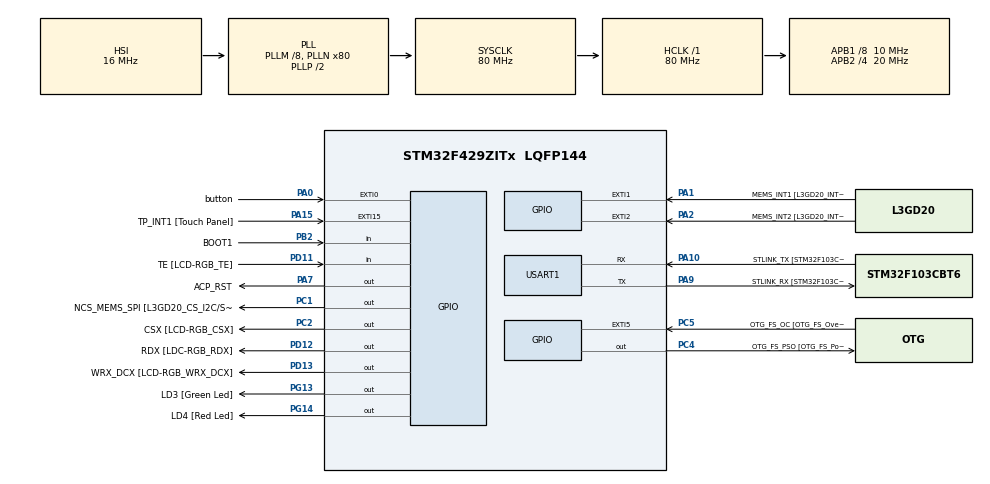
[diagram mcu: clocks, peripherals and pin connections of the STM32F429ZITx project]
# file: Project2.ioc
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Mcu.Family=STM32F4
Mcu.Name=STM32F429ZITx
Mcu.Package=LQFP144
NVIC.EXTI0_IRQn=true\:0\:0\:false\:false\:true\:true\:true\:true
NVIC.PriorityGroup=NVIC_PRIORITYGROUP_0
NVIC.TIM1_UP_TIM10_IRQn=true\:0\:0\:false\:false\:true\:true\:true\:true
NVIC.USART1_IRQn=true\:0\:0\:false\:false\:true\:true\:true\:true
PA0/WKUP.GPIO_Label=button
PA0/WKUP.GPIO_ModeDefaultEXTI=GPIO_MODE_IT_RISING
PA0/WKUP.GPIO_PuPd=GPIO_NOPULL
PA0/WKUP.Signal=GPXTI0
PA1.GPIO_Label=MEMS_INT1 [L3GD20_INT1]
PA1.GPIO_ModeDefaultEXTI=GPIO_MODE_EVT_RISING
PA1.GPIO_PuPd=GPIO_NOPULL
PA1.Signal=GPXTI1
PA10.GPIO_Label=STLINK_TX [STM32F103CBT6_PA2]
PA10.Mode=Asynchronous
PA10.Signal=USART1_RX
PA11.GPIO_Label=R4
PA11.GPIO_Mode=GPIO_MODE_AF_PP
PA11.GPIO_PuPd=GPIO_NOPULL
PA11.GPIO_Speed=GPIO_SPEED_FREQ_LOW
PA11.Signal=LTDC_R4
PA12.GPIO_Label=R5
PA12.GPIO_Mode=GPIO_MODE_AF_PP
PA12.GPIO_PuPd=GPIO_NOPULL
PA12.GPIO_Speed=GPIO_SPEED_FREQ_LOW
PA12.Signal=LTDC_R5
PA13.GPIO_Label=SWDIO
PA13.Signal=SYS_JTMS-SWDIO
PA14.GPIO_Label=SWCLK
PA14.Signal=SYS_JTCK-SWCLK
PA15.GPIO_Label=TP_INT1 [Touch Panel]
PA15.GPIO_ModeDefaultEXTI=GPIO_MODE_EVT_RISING
PA15.GPIO_PuPd=GPIO_NOPULL
PA15.Signal=GPXTI15
PA2.GPIO_Label=MEMS_INT2 [L3GD20_INT2]
PA2.GPIO_ModeDefaultEXTI=GPIO_MODE_EVT_RISING
PA2.GPIO_PuPd=GPIO_NOPULL
PA2.Signal=GPXTI2
PA3.GPIO_Label=B5
PA3.GPIO_Mode=GPIO_MODE_AF_PP
PA3.GPIO_PuPd=GPIO_NOPULL
PA3.GPIO_Speed=GPIO_SPEED_FREQ_LOW
PA3.Signal=LTDC_B5
PA4.GPIO_Label=VSYNC
PA4.GPIO_Mode=GPIO_MODE_AF_PP
PA4.GPIO_PuPd=GPIO_NOPULL
PA4.GPIO_Speed=GPIO_SPEED_FREQ_LOW
PA4.Signal=LTDC_VSYNC
PA6.GPIO_Label=G2
PA6.GPIO_Mode=GPIO_MODE_AF_PP
PA6.GPIO_PuPd=GPIO_NOPULL
PA6.GPIO_Speed=GPIO_SPEED_FREQ_LOW
PA6.Signal=LTDC_G2
PA7.GPIO_Label=ACP_RST
PA7.GPIO_Mode=GPIO_MODE_OUTPUT_PP
PA7.GPIO_PuPd=GPIO_NOPULL
PA7.GPIO_Speed=GPIO_SPEED_FREQ_LOW
PA7.Signal=GPIO_Output
PA8.GPIO_Label=I2C3_SCL [ACP/RF_SCL]
PA8.GPIO_Mode=GPIO_MODE_AF_OD
PA8.GPIO_PuPd=GPIO_NOPULL
PA8.GPIO_Speed=GPIO_SPEED_FREQ_LOW
PA8.Signal=I2C3_SCL
PA9.GPIO_Label=STLINK_RX [STM32F103CBT6_PA3]
PA9.Mode=Asynchronous
PA9.Signal=USART1_TX
PB0.GPIO_Label=R3
PB0.GPIO_Mode=GPIO_MODE_AF_PP
PB0.GPIO_PuPd=GPIO_NOPULL
PB0.GPIO_Speed=GPIO_SPEED_FREQ_LOW
PB0.Signal=LTDC_R3
PB1.GPIO_Label=R6
PB1.GPIO_Mode=GPIO_MODE_AF_PP
PB1.GPIO_PuPd=GPIO_NOPULL
PB1.GPIO_Speed=GPIO_SPEED_FREQ_LOW
PB1.Signal=LTDC_R6
PB10.GPIO_Label=G4
PB10.GPIO_Mode=GPIO_MODE_AF_PP
PB10.GPIO_PuPd=GPIO_NOPULL
PB10.GPIO_Speed=GPIO_SPEED_FREQ_LOW
PB10.Signal=LTDC_G4
PB11.GPIO_Label=G5
PB11.GPIO_Mode=GPIO_MODE_AF_PP
PB11.GPIO_PuPd=GPIO_NOPULL
PB11.GPIO_Speed=GPIO_SPEED_FREQ_LOW
PB11.Signal=LTDC_G5
PB12.GPIO_Label=OTG_HS_ID
PB12.GPIO_Mode=GPIO_MODE_AF_PP
PB12.GPIO_PuPd=GPIO_NOPULL
PB12.GPIO_Speed=GPIO_SPEED_FREQ_LOW
PB12.Signal=USB_OTG_HS_ID
PB13.GPIO_Label=VBUS_HS
PB13.GPIO_Mode=GPIO_MODE_INPUT
PB13.GPIO_PuPd=GPIO_NOPULL
PB13.Signal=USB_OTG_HS_VBUS
PB14.GPIO_Label=OTG_HS_DM
PB14.GPIO_Mode=GPIO_MODE_AF_PP
PB14.GPIO_PuPd=GPIO_NOPULL
PB14.GPIO_Speed=GPIO_SPEED_FREQ_LOW
PB14.Signal=USB_OTG_HS_DM
PB15.GPIO_Label=OTG_HS_DP
PB15.GPIO_Mode=GPIO_MODE_AF_PP
PB15.GPIO_PuPd=GPIO_NOPULL
PB15.GPIO_Speed=GPIO_SPEED_FREQ_LOW
PB15.Signal=USB_OTG_HS_DP
PB2/BOOT1.GPIO_Label=BOOT1
PB2/BOOT1.GPIO_Mode=GPIO_MODE_INPUT
PB2/BOOT1.GPIO_PuPd=GPIO_NOPULL
PB2/BOOT1.Signal=GPIO_Input
PB5.GPIO_Label=SDCKE1
PB5.GPIO_Mode=GPIO_MODE_AF_PP
PB5.GPIO_PuPd=GPIO_NOPULL
PB5.GPIO_Speed=GPIO_SPEED_FREQ_VERY_HIGH
PB5.Signal=FMC_SDCKE1
PB6.GPIO_Label=SDNE1 [SDRAM_CS]
PB6.GPIO_Mode=GPIO_MODE_AF_PP
PB6.GPIO_PuPd=GPIO_NOPULL
PB6.GPIO_Speed=GPIO_SPEED_FREQ_VERY_HIGH
PB6.Signal=FMC_SDNE1
PB8.GPIO_Label=B6
PB8.GPIO_Mode=GPIO_MODE_AF_PP
PB8.GPIO_PuPd=GPIO_NOPULL
PB8.GPIO_Speed=GPIO_SPEED_FREQ_LOW
PB8.Signal=LTDC_B6
PB9.GPIO_Label=B7
PB9.GPIO_Mode=GPIO_MODE_AF_PP
PB9.GPIO_PuPd=GPIO_NOPULL
PB9.GPIO_Speed=GPIO_SPEED_FREQ_LOW
PB9.Signal=LTDC_B7
PC0.GPIO_Label=SDNWE
PC0.GPIO_Mode=GPIO_MODE_AF_PP
PC0.GPIO_PuPd=GPIO_NOPULL
PC0.GPIO_Speed=GPIO_SPEED_FREQ_VERY_HIGH
PC0.Signal=FMC_SDNWE
PC1.GPIO_Label=NCS_MEMS_SPI [L3GD20_CS_I2C/SPI]
PC1.GPIO_Mode=GPIO_MODE_OUTPUT_PP
PC1.GPIO_PuPd=GPIO_NOPULL
PC1.GPIO_Speed=GPIO_SPEED_FREQ_LOW
PC1.Signal=GPIO_Output
PC10.GPIO_Label=R2
PC10.GPIO_Mode=GPIO_MODE_AF_PP
PC10.GPIO_PuPd=GPIO_NOPULL
PC10.GPIO_Speed=GPIO_SPEED_FREQ_LOW
PC10.Signal=LTDC_R2
PC14/OSC32_IN.GPIO_Label=PC14-OSC32_IN
PC14/OSC32_IN.Signal=RCC_OSC32_IN
PC15/OSC32_OUT.GPIO_Label=PC15-OSC32_OUT
PC15/OSC32_OUT.Signal=RCC_OSC32_OUT
PC2.GPIO_Label=CSX [LCD-RGB_CSX]
PC2.GPIO_Mode=GPIO_MODE_OUTPUT_PP
PC2.GPIO_PuPd=GPIO_NOPULL
PC2.GPIO_Speed=GPIO_SPEED_FREQ_LOW
PC2.Signal=GPIO_Output
PC4.GPIO_Label=OTG_FS_PSO [OTG_FS_PowerSwitchOn]
PC4.GPIO_Mode=GPIO_MODE_OUTPUT_PP
PC4.GPIO_PuPd=GPIO_NOPULL
PC4.GPIO_Speed=GPIO_SPEED_FREQ_LOW
PC4.Signal=GPIO_Output
PC5.GPIO_Label=OTG_FS_OC [OTG_FS_OverCurrent]
PC5.GPIO_ModeDefaultEXTI=GPIO_MODE_EVT_RISING
PC5.Signal=GPXTI5
PC6.GPIO_Label=HSYNC
PC6.GPIO_Mode=GPIO_MODE_AF_PP
PC6.GPIO_PuPd=GPIO_NOPULL
PC6.GPIO_Speed=GPIO_SPEED_FREQ_LOW
PC6.Signal=LTDC_HSYNC
PC7.GPIO_Label=G6
PC7.GPIO_Mode=GPIO_MODE_AF_PP
PC7.GPIO_PuPd=GPIO_NOPULL
PC7.GPIO_Speed=GPIO_SPEED_FREQ_LOW
PC7.Signal=LTDC_G6
PC9.GPIO_Label=I2C3_SDA [ACP/RF_SDA]
PC9.GPIO_Mode=GPIO_MODE_AF_OD
PC9.GPIO_PuPd=GPIO_NOPULL
PC9.GPIO_Speed=GPIO_SPEED_FREQ_LOW
PC9.Signal=I2C3_SDA
PD0.GPIO_Label=D2
PD0.GPIO_Mode=GPIO_MODE_AF_PP
PD0.GPIO_PuPd=GPIO_NOPULL
PD0.GPIO_Speed=GPIO_SPEED_FREQ_VERY_HIGH
PD0.Signal=FMC_D2_DA2
PD1.GPIO_Label=D3
PD1.GPIO_Mode=GPIO_MODE_AF_PP
PD1.GPIO_PuPd=GPIO_NOPULL
PD1.GPIO_Speed=GPIO_SPEED_FREQ_VERY_HIGH
PD1.Signal=FMC_D3_DA3
PD10.GPIO_Label=D15
PD10.GPIO_Mode=GPIO_MODE_AF_PP
PD10.GPIO_PuPd=GPIO_NOPULL
PD10.GPIO_Speed=GPIO_SPEED_FREQ_VERY_HIGH
PD10.Signal=FMC_D15_DA15
PD11.GPIO_Label=TE [LCD-RGB_TE]
PD11.GPIO_Mode=GPIO_MODE_INPUT
PD11.GPIO_PuPd=GPIO_NOPULL
PD11.Signal=GPIO_Input
PD12.GPIO_Label=RDX [LDC-RGB_RDX]
PD12.GPIO_Mode=GPIO_MODE_OUTPUT_PP
PD12.GPIO_PuPd=GPIO_NOPULL
PD12.GPIO_Speed=GPIO_SPEED_FREQ_LOW
PD12.Signal=GPIO_Output
PD13.GPIO_Label=WRX_DCX [LCD-RGB_WRX_DCX]
PD13.GPIO_Mode=GPIO_MODE_OUTPUT_PP
PD13.GPIO_PuPd=GPIO_NOPULL
PD13.GPIO_Speed=GPIO_SPEED_FREQ_LOW
PD13.Signal=GPIO_Output
PD14.GPIO_Label=D0
PD14.GPIO_Mode=GPIO_MODE_AF_PP
PD14.GPIO_PuPd=GPIO_NOPULL
PD14.GPIO_Speed=GPIO_SPEED_FREQ_VERY_HIGH
PD14.Signal=FMC_D0_DA0
PD15.GPIO_Label=D1
PD15.GPIO_Mode=GPIO_MODE_AF_PP
PD15.GPIO_PuPd=GPIO_NOPULL
PD15.GPIO_Speed=GPIO_SPEED_FREQ_VERY_HIGH
PD15.Signal=FMC_D1_DA1
PD3.GPIO_Label=G7
PD3.GPIO_Mode=GPIO_MODE_AF_PP
PD3.GPIO_PuPd=GPIO_NOPULL
PD3.GPIO_Speed=GPIO_SPEED_FREQ_LOW
PD3.Signal=LTDC_G7
PD6.GPIO_Label=B2
PD6.GPIO_Mode=GPIO_MODE_AF_PP
PD6.GPIO_PuPd=GPIO_NOPULL
PD6.GPIO_Speed=GPIO_SPEED_FREQ_LOW
PD6.Signal=LTDC_B2
PD8.GPIO_Label=D13
PD8.GPIO_Mode=GPIO_MODE_AF_PP
PD8.GPIO_PuPd=GPIO_NOPULL
PD8.GPIO_Speed=GPIO_SPEED_FREQ_VERY_HIGH
PD8.Signal=FMC_D13_DA13
PD9.GPIO_Label=D14
PD9.GPIO_Mode=GPIO_MODE_AF_PP
PD9.GPIO_PuPd=GPIO_NOPULL
PD9.GPIO_Speed=GPIO_SPEED_FREQ_VERY_HIGH
PD9.Signal=FMC_D14_DA14
PE0.GPIO_Label=NBL0 [SDRAM_LDQM]
PE0.GPIO_Mode=GPIO_MODE_AF_PP
PE0.GPIO_PuPd=GPIO_NOPULL
PE0.GPIO_Speed=GPIO_SPEED_FREQ_VERY_HIGH
PE0.Signal=FMC_NBL0
PE1.GPIO_Label=NBL1 [SDRAM_UDQM]
PE1.GPIO_Mode=GPIO_MODE_AF_PP
PE1.GPIO_PuPd=GPIO_NOPULL
PE1.GPIO_Speed=GPIO_SPEED_FREQ_VERY_HIGH
PE1.Signal=FMC_NBL1
PE10.GPIO_Label=D7
PE10.GPIO_Mode=GPIO_MODE_AF_PP
PE10.GPIO_PuPd=GPIO_NOPULL
PE10.GPIO_Speed=GPIO_SPEED_FREQ_VERY_HIGH
PE10.Signal=FMC_D7_DA7
PE11.GPIO_Label=D8
PE11.GPIO_Mode=GPIO_MODE_AF_PP
PE11.GPIO_PuPd=GPIO_NOPULL
PE11.GPIO_Speed=GPIO_SPEED_FREQ_VERY_HIGH
PE11.Signal=FMC_D8_DA8
PE12.GPIO_Label=D9
PE12.GPIO_Mode=GPIO_MODE_AF_PP
PE12.GPIO_PuPd=GPIO_NOPULL
PE12.GPIO_Speed=GPIO_SPEED_FREQ_VERY_HIGH
PE12.Signal=FMC_D9_DA9
PE13.GPIO_Label=D10
PE13.GPIO_Mode=GPIO_MODE_AF_PP
PE13.GPIO_PuPd=GPIO_NOPULL
PE13.GPIO_Speed=GPIO_SPEED_FREQ_VERY_HIGH
PE13.Signal=FMC_D10_DA10
PE14.GPIO_Label=D11
PE14.GPIO_Mode=GPIO_MODE_AF_PP
PE14.GPIO_PuPd=GPIO_NOPULL
PE14.GPIO_Speed=GPIO_SPEED_FREQ_VERY_HIGH
PE14.Signal=FMC_D11_DA11
PE15.GPIO_Label=D12
PE15.GPIO_Mode=GPIO_MODE_AF_PP
PE15.GPIO_PuPd=GPIO_NOPULL
PE15.GPIO_Speed=GPIO_SPEED_FREQ_VERY_HIGH
PE15.Signal=FMC_D12_DA12
PE7.GPIO_Label=D4
PE7.GPIO_Mode=GPIO_MODE_AF_PP
PE7.GPIO_PuPd=GPIO_NOPULL
PE7.GPIO_Speed=GPIO_SPEED_FREQ_VERY_HIGH
PE7.Signal=FMC_D4_DA4
PE8.GPIO_Label=D5
PE8.GPIO_Mode=GPIO_MODE_AF_PP
PE8.GPIO_PuPd=GPIO_NOPULL
PE8.GPIO_Speed=GPIO_SPEED_FREQ_VERY_HIGH
PE8.Signal=FMC_D5_DA5
PE9.GPIO_Label=D6
PE9.GPIO_Mode=GPIO_MODE_AF_PP
PE9.GPIO_PuPd=GPIO_NOPULL
PE9.GPIO_Speed=GPIO_SPEED_FREQ_VERY_HIGH
PE9.Signal=FMC_D6_DA6
PF0.GPIO_Label=A0
PF0.GPIO_Mode=GPIO_MODE_AF_PP
PF0.GPIO_PuPd=GPIO_NOPULL
PF0.GPIO_Speed=GPIO_SPEED_FREQ_VERY_HIGH
PF0.Signal=FMC_A0
PF1.GPIO_Label=A1
PF1.GPIO_Mode=GPIO_MODE_AF_PP
PF1.GPIO_PuPd=GPIO_NOPULL
PF1.GPIO_Speed=GPIO_SPEED_FREQ_VERY_HIGH
PF1.Signal=FMC_A1
PF10.GPIO_Label=ENABLE [LCD-RGB_ENABLE]
PF10.GPIO_Mode=GPIO_MODE_AF_PP
PF10.GPIO_PuPd=GPIO_NOPULL
PF10.GPIO_Speed=GPIO_SPEED_FREQ_LOW
PF10.Signal=LTDC_DE
PF11.GPIO_Label=SDNRAS
PF11.GPIO_Mode=GPIO_MODE_AF_PP
PF11.GPIO_PuPd=GPIO_NOPULL
PF11.GPIO_Speed=GPIO_SPEED_FREQ_VERY_HIGH
PF11.Signal=FMC_SDNRAS
PF12.GPIO_Label=A6
PF12.GPIO_Mode=GPIO_MODE_AF_PP
PF12.GPIO_PuPd=GPIO_NOPULL
PF12.GPIO_Speed=GPIO_SPEED_FREQ_VERY_HIGH
PF12.Signal=FMC_A6
PF13.GPIO_Label=A7
PF13.GPIO_Mode=GPIO_MODE_AF_PP
PF13.GPIO_PuPd=GPIO_NOPULL
PF13.GPIO_Speed=GPIO_SPEED_FREQ_VERY_HIGH
PF13.Signal=FMC_A7
PF14.GPIO_Label=A8
PF14.GPIO_Mode=GPIO_MODE_AF_PP
PF14.GPIO_PuPd=GPIO_NOPULL
PF14.GPIO_Speed=GPIO_SPEED_FREQ_VERY_HIGH
PF14.Signal=FMC_A8
PF15.GPIO_Label=A9
PF15.GPIO_Mode=GPIO_MODE_AF_PP
PF15.GPIO_PuPd=GPIO_NOPULL
PF15.GPIO_Speed=GPIO_SPEED_FREQ_VERY_HIGH
PF15.Signal=FMC_A9
PF2.GPIO_Label=A2
PF2.GPIO_Mode=GPIO_MODE_AF_PP
PF2.GPIO_PuPd=GPIO_NOPULL
PF2.GPIO_Speed=GPIO_SPEED_FREQ_VERY_HIGH
PF2.Signal=FMC_A2
PF3.GPIO_Label=A3
PF3.GPIO_Mode=GPIO_MODE_AF_PP
PF3.GPIO_PuPd=GPIO_NOPULL
PF3.GPIO_Speed=GPIO_SPEED_FREQ_VERY_HIGH
PF3.Signal=FMC_A3
PF4.GPIO_Label=A4
PF4.GPIO_Mode=GPIO_MODE_AF_PP
PF4.GPIO_PuPd=GPIO_NOPULL
PF4.GPIO_Speed=GPIO_SPEED_FREQ_VERY_HIGH
PF4.Signal=FMC_A4
PF5.GPIO_Label=A5
PF5.GPIO_Mode=GPIO_MODE_AF_PP
PF5.GPIO_PuPd=GPIO_NOPULL
PF5.GPIO_Speed=GPIO_SPEED_FREQ_VERY_HIGH
PF5.Signal=FMC_A5
PF7.GPIO_Label=SPI5_SCK [L3GD20_SCL/SPC]
PF7.GPIO_Mode=GPIO_MODE_AF_PP
PF7.GPIO_PuPd=GPIO_NOPULL
PF7.GPIO_Speed=GPIO_SPEED_FREQ_LOW
PF7.Signal=SPI5_SCK
PF8.GPIO_Label=SPI5_MISO [L3GD20_SDO]
PF8.GPIO_Mode=GPIO_MODE_AF_PP
PF8.GPIO_PuPd=GPIO_NOPULL
PF8.GPIO_Speed=GPIO_SPEED_FREQ_LOW
PF8.Signal=SPI5_MISO
PF9.GPIO_Label=SPI5_MOSI [L3GD20_SDA/SDI/SDO]
PF9.GPIO_Mode=GPIO_MODE_AF_PP
PF9.GPIO_PuPd=GPIO_NOPULL
PF9.GPIO_Speed=GPIO_SPEED_FREQ_LOW
PF9.Signal=SPI5_MOSI
PG0.GPIO_Label=A10
PG0.GPIO_Mode=GPIO_MODE_AF_PP
PG0.GPIO_PuPd=GPIO_NOPULL
PG0.GPIO_Speed=GPIO_SPEED_FREQ_VERY_HIGH
PG0.Signal=FMC_A10
PG1.GPIO_Label=A11
PG1.GPIO_Mode=GPIO_MODE_AF_PP
PG1.GPIO_PuPd=GPIO_NOPULL
PG1.GPIO_Speed=GPIO_SPEED_FREQ_VERY_HIGH
PG1.Signal=FMC_A11
PG10.GPIO_Label=G3
PG10.GPIO_Mode=GPIO_MODE_AF_PP
PG10.GPIO_PuPd=GPIO_NOPULL
PG10.GPIO_Speed=GPIO_SPEED_FREQ_LOW
PG10.Signal=LTDC_G3
PG11.GPIO_Label=B3
PG11.GPIO_Mode=GPIO_MODE_AF_PP
PG11.GPIO_PuPd=GPIO_NOPULL
PG11.GPIO_Speed=GPIO_SPEED_FREQ_LOW
PG11.Signal=LTDC_B3
PG12.GPIO_Label=B4
PG12.GPIO_Mode=GPIO_MODE_AF_PP
PG12.GPIO_PuPd=GPIO_NOPULL
PG12.GPIO_Speed=GPIO_SPEED_FREQ_LOW
PG12.Signal=LTDC_B4
PG13.GPIO_Label=LD3 [Green Led]
PG13.GPIO_Mode=GPIO_MODE_OUTPUT_PP
PG13.GPIO_PuPd=GPIO_NOPULL
PG13.GPIO_Speed=GPIO_SPEED_FREQ_LOW
PG13.Signal=GPIO_Output
PG14.GPIO_Label=LD4 [Red Led]
PG14.GPIO_Mode=GPIO_MODE_OUTPUT_PP
PG14.GPIO_PuPd=GPIO_NOPULL
PG14.GPIO_Speed=GPIO_SPEED_FREQ_LOW
PG14.Signal=GPIO_Output
PG15.GPIO_Label=SDNCAS
PG15.GPIO_Mode=GPIO_MODE_AF_PP
PG15.GPIO_PuPd=GPIO_NOPULL
PG15.GPIO_Speed=GPIO_SPEED_FREQ_VERY_HIGH
PG15.Signal=FMC_SDNCAS
PG4.GPIO_Label=BA0
PG4.GPIO_Mode=GPIO_MODE_AF_PP
PG4.GPIO_PuPd=GPIO_NOPULL
PG4.GPIO_Speed=GPIO_SPEED_FREQ_VERY_HIGH
PG4.Signal=FMC_A14_BA0
PG5.GPIO_Label=BA1
PG5.GPIO_Mode=GPIO_MODE_AF_PP
PG5.GPIO_PuPd=GPIO_NOPULL
PG5.GPIO_Speed=GPIO_SPEED_FREQ_VERY_HIGH
PG5.Signal=FMC_A15_BA1
PG6.GPIO_Label=R7
PG6.GPIO_Mode=GPIO_MODE_AF_PP
PG6.GPIO_PuPd=GPIO_NOPULL
PG6.GPIO_Speed=GPIO_SPEED_FREQ_LOW
PG6.Signal=LTDC_R7
PG7.GPIO_Label=DOTCLK [LCT-RGB_DOTCLK]
PG7.GPIO_Mode=GPIO_MODE_AF_PP
PG7.GPIO_PuPd=GPIO_NOPULL
PG7.GPIO_Speed=GPIO_SPEED_FREQ_LOW
PG7.Signal=LTDC_CLK
PG8.GPIO_Label=SDCLK
PG8.GPIO_Mode=GPIO_MODE_AF_PP
PG8.GPIO_PuPd=GPIO_NOPULL
PG8.GPIO_Speed=GPIO_SPEED_FREQ_VERY_HIGH
PG8.Signal=FMC_SDCLK
PH0/OSC_IN.GPIO_Label=PH0-OSC_IN
PH0/OSC_IN.Signal=RCC_OSC_IN
PH1/OSC_OUT.GPIO_Label=PH1-OSC_OUT
PH1/OSC_OUT.Signal=RCC_OSC_OUT
ProjectManager.HeapSize=0x200
ProjectManager.StackSize=0x400
ProjectManager.TargetToolchain=STM32CubeIDE
RCC.48MHZClocksFreq_Value=22857142.85714286
RCC.AHBFreq_Value=80000000
RCC.APB1CLKDivider=RCC_HCLK_DIV8
RCC.APB1Freq_Value=10000000
RCC.APB1TimFreq_Value=20000000
RCC.APB2CLKDivider=RCC_HCLK_DIV4
RCC.APB2Freq_Value=20000000
RCC.APB2TimFreq_Value=40000000
RCC.CortexFreq_Value=80000000
RCC.HCLKFreq_Value=80000000
RCC.HSE_VALUE=8000000
RCC.HSI_VALUE=16000000
RCC.LSE_VALUE=32768
RCC.PLLM=8
RCC.PLLN=80
RCC.PLLQ=7
RCC.SYSCLKFreq_VALUE=80000000
RCC.SYSCLKSource=RCC_SYSCLKSOURCE_PLLCLK
RCC.VCOOutputFreq_Value=160000000
SH.FMC_A0.0=FMC_A0
SH.FMC_A1.0=FMC_A1
SH.FMC_A10.0=FMC_A10
SH.FMC_A11.0=FMC_A11
SH.FMC_A14_BA0.0=FMC_BA0
SH.FMC_A15_BA1.0=FMC_BA1
SH.FMC_A2.0=FMC_A2
SH.FMC_A3.0=FMC_A3
SH.FMC_A4.0=FMC_A4
SH.FMC_A5.0=FMC_A5
SH.FMC_A6.0=FMC_A6
SH.FMC_A7.0=FMC_A7
SH.FMC_A8.0=FMC_A8
SH.FMC_A9.0=FMC_A9
SH.FMC_D0_DA0.0=FMC_D0
SH.FMC_D10_DA10.0=FMC_D10
SH.FMC_D11_DA11.0=FMC_D11
SH.FMC_D12_DA12.0=FMC_D12
SH.FMC_D13_DA13.0=FMC_D13
SH.FMC_D14_DA14.0=FMC_D14
SH.FMC_D15_DA15.0=FMC_D15
SH.FMC_D1_DA1.0=FMC_D1
SH.FMC_D2_DA2.0=FMC_D2
SH.FMC_D3_DA3.0=FMC_D3
SH.FMC_D4_DA4.0=FMC_D4
SH.FMC_D5_DA5.0=FMC_D5
SH.FMC_D6_DA6.0=FMC_D6
SH.FMC_D7_DA7.0=FMC_D7
SH.FMC_D8_DA8.0=FMC_D8
SH.FMC_D9_DA9.0=FMC_D9
SH.FMC_NBL0.0=FMC_NBL0
SH.FMC_NBL1.0=FMC_NBL1
SH.FMC_SDCLK.0=FMC_SDCLK
SH.FMC_SDNCAS.0=FMC_SDNCAS
SH.FMC_SDNRAS.0=FMC_SDNRAS
SH.FMC_SDNWE.0=FMC_SDNWE
TIM1.Prescaler=999
USART1.VirtualMode=VM_ASYNC
VP_TIM1_VS_ClockSourceINT.Mode=Internal
board=STM32F429I-DISC1

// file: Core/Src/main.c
/* Amna Malik 2/5/2026
 * I set up the user button to trigger an interrupt and
 * keep track of how many times it’s pressed.
 * Each press sends the count over UART to the serial monitor.
 * Debounce is included so the button doesn’t double count.
 */

/* USER CODE BEGIN Header */
/**
  ******************************************************************************
  * @file           : main.c
  * @brief          : Main program body
  ******************************************************************************
  * @attention
  *
  * Copyright (c) 2026 STMicroelectronics.
  * All rights reserved.
  *
  * This software is licensed under terms that can be found in the LICENSE file
  * in the root directory of this software component.
  * If no LICENSE file comes with this software, it is provided AS-IS.
  *
  ******************************************************************************
  */
/* USER CODE END Header */
#include "main.h"

TIM_HandleTypeDef htim1;

UART_HandleTypeDef huart1;

void SystemClock_Config(void);
static void MX_GPIO_Init(void);
static void MX_TIM1_Init(void);
static void MX_USART1_UART_Init(void);

/* USER CODE BEGIN 0 */
#include <stdio.h>
#include <string.h>

volatile uint32_t pressedAmount = 0;

static uint32_t lastPressTickMs = 0;       // debounce with HAL_GetTick()
static volatile uint8_t uartBusy = 0;      // 1 while UART transmit is in progress
static volatile uint8_t uartPending = 0;   // 1 if we pressed while UART was busy

static char message[64];
/* USER CODE END 0 */

int main(void)
{

  /* MCU Configuration--------------------------------------------------------*/

  /* Reset of all peripherals, Initializes the Flash interface and the Systick. */
  HAL_Init();

  /* Configure the system clock */
  SystemClock_Config();

  /* Initialize all configured peripherals */
  MX_GPIO_Init();
  MX_TIM1_Init();
  MX_USART1_UART_Init();

  /* Infinite loop */
  while (1)
  {

  }
}

void SystemClock_Config(void)
{
  RCC_OscInitTypeDef RCC_OscInitStruct = {0};
  RCC_ClkInitTypeDef RCC_ClkInitStruct = {0};

  /** Configure the main internal regulator output voltage
  */
  __HAL_RCC_PWR_CLK_ENABLE();
  __HAL_PWR_VOLTAGESCALING_CONFIG(PWR_REGULATOR_VOLTAGE_SCALE3);

  /** Initializes the RCC Oscillators according to the specified parameters
  * in the RCC_OscInitTypeDef structure.
  */
  RCC_OscInitStruct.OscillatorType = RCC_OSCILLATORTYPE_HSI;
  RCC_OscInitStruct.HSIState = RCC_HSI_ON;
  RCC_OscInitStruct.HSICalibrationValue = RCC_HSICALIBRATION_DEFAULT;
  RCC_OscInitStruct.PLL.PLLState = RCC_PLL_ON;
  RCC_OscInitStruct.PLL.PLLSource = RCC_PLLSOURCE_HSI;
  RCC_OscInitStruct.PLL.PLLM = 8;
  RCC_OscInitStruct.PLL.PLLN = 80;
  RCC_OscInitStruct.PLL.PLLP = RCC_PLLP_DIV2;
  RCC_OscInitStruct.PLL.PLLQ = 7;
  if (HAL_RCC_OscConfig(&RCC_OscInitStruct) != HAL_OK)
  {
    Error_Handler();
  }

  /** Initializes the CPU, AHB and APB buses clocks
  */
  RCC_ClkInitStruct.ClockType = RCC_CLOCKTYPE_HCLK|RCC_CLOCKTYPE_SYSCLK
                              |RCC_CLOCKTYPE_PCLK1|RCC_CLOCKTYPE_PCLK2;
  RCC_ClkInitStruct.SYSCLKSource = RCC_SYSCLKSOURCE_PLLCLK;
  RCC_ClkInitStruct.AHBCLKDivider = RCC_SYSCLK_DIV1;
  RCC_ClkInitStruct.APB1CLKDivider = RCC_HCLK_DIV8;
  RCC_ClkInitStruct.APB2CLKDivider = RCC_HCLK_DIV4;

  if (HAL_RCC_ClockConfig(&RCC_ClkInitStruct, FLASH_LATENCY_2) != HAL_OK)
  {
    Error_Handler();
  }
}

static void MX_TIM1_Init(void)
{

  TIM_ClockConfigTypeDef sClockSourceConfig = {0};
  TIM_MasterConfigTypeDef sMasterConfig = {0};

  htim1.Instance = TIM1;
  htim1.Init.Prescaler = 999;
  htim1.Init.CounterMode = TIM_COUNTERMODE_UP;
  htim1.Init.Period = 65535;
  htim1.Init.ClockDivision = TIM_CLOCKDIVISION_DIV1;
  htim1.Init.RepetitionCounter = 0;
  htim1.Init.AutoReloadPreload = TIM_AUTORELOAD_PRELOAD_DISABLE;
  if (HAL_TIM_Base_Init(&htim1) != HAL_OK)
  {
    Error_Handler();
  }
  sClockSourceConfig.ClockSource = TIM_CLOCKSOURCE_INTERNAL;
  if (HAL_TIM_ConfigClockSource(&htim1, &sClockSourceConfig) != HAL_OK)
  {
    Error_Handler();
  }
  sMasterConfig.MasterOutputTrigger = TIM_TRGO_RESET;
  sMasterConfig.MasterSlaveMode = TIM_MASTERSLAVEMODE_DISABLE;
  if (HAL_TIMEx_MasterConfigSynchronization(&htim1, &sMasterConfig) != HAL_OK)
  {
    Error_Handler();
  }

}

static void MX_USART1_UART_Init(void)
{

  huart1.Instance = USART1;
  huart1.Init.BaudRate = 115200;
  huart1.Init.WordLength = UART_WORDLENGTH_8B;
  huart1.Init.StopBits = UART_STOPBITS_1;
  huart1.Init.Parity = UART_PARITY_NONE;
  huart1.Init.Mode = UART_MODE_TX_RX;
  huart1.Init.HwFlowCtl = UART_HWCONTROL_NONE;
  huart1.Init.OverSampling = UART_OVERSAMPLING_16;
  if (HAL_UART_Init(&huart1) != HAL_OK)
  {
    Error_Handler();
  }

}

static void MX_GPIO_Init(void)
{
  GPIO_InitTypeDef GPIO_InitStruct = {0};

  /* GPIO Ports Clock Enable */
  __HAL_RCC_GPIOC_CLK_ENABLE();
  __HAL_RCC_GPIOF_CLK_ENABLE();
  __HAL_RCC_GPIOH_CLK_ENABLE();
  __HAL_RCC_GPIOA_CLK_ENABLE();
  __HAL_RCC_GPIOB_CLK_ENABLE();
  __HAL_RCC_GPIOG_CLK_ENABLE();
  __HAL_RCC_GPIOE_CLK_ENABLE();
  __HAL_RCC_GPIOD_CLK_ENABLE();

  /*Configure GPIO pin Output Level */
  HAL_GPIO_WritePin(GPIOC, NCS_MEMS_SPI_Pin|CSX_Pin|OTG_FS_PSO_Pin, GPIO_PIN_RESET);

  /*Configure GPIO pin Output Level */
  HAL_GPIO_WritePin(ACP_RST_GPIO_Port, ACP_RST_Pin, GPIO_PIN_RESET);

  /*Configure GPIO pin Output Level */
  HAL_GPIO_WritePin(GPIOD, RDX_Pin|WRX_DCX_Pin, GPIO_PIN_RESET);

  /*Configure GPIO pin Output Level */
  HAL_GPIO_WritePin(GPIOG, LD3_Pin|LD4_Pin, GPIO_PIN_RESET);

  /*Configure GPIO pins : A0_Pin A1_Pin A2_Pin A3_Pin
                           A4_Pin A5_Pin SDNRAS_Pin A6_Pin
                           A7_Pin A8_Pin A9_Pin */
  GPIO_InitStruct.Pin = A0_Pin|A1_Pin|A2_Pin|A3_Pin
                          |A4_Pin|A5_Pin|SDNRAS_Pin|A6_Pin
                          |A7_Pin|A8_Pin|A9_Pin;
  GPIO_InitStruct.Mode = GPIO_MODE_AF_PP;
  GPIO_InitStruct.Pull = GPIO_NOPULL;
  GPIO_InitStruct.Speed = GPIO_SPEED_FREQ_VERY_HIGH;
  GPIO_InitStruct.Alternate = GPIO_AF12_FMC;
  HAL_GPIO_Init(GPIOF, &GPIO_InitStruct);

  /*Configure GPIO pins : SPI5_SCK_Pin SPI5_MISO_Pin SPI5_MOSI_Pin */
  GPIO_InitStruct.Pin = SPI5_SCK_Pin|SPI5_MISO_Pin|SPI5_MOSI_Pin;
  GPIO_InitStruct.Mode = GPIO_MODE_AF_PP;
  GPIO_InitStruct.Pull = GPIO_NOPULL;
  GPIO_InitStruct.Speed = GPIO_SPEED_FREQ_LOW;
  GPIO_InitStruct.Alternate = GPIO_AF5_SPI5;
  HAL_GPIO_Init(GPIOF, &GPIO_InitStruct);

  /*Configure GPIO pin : ENABLE_Pin */
  GPIO_InitStruct.Pin = ENABLE_Pin;
  GPIO_InitStruct.Mode = GPIO_MODE_AF_PP;
  GPIO_InitStruct.Pull = GPIO_NOPULL;
  GPIO_InitStruct.Speed = GPIO_SPEED_FREQ_LOW;
  GPIO_InitStruct.Alternate = GPIO_AF14_LTDC;
  HAL_GPIO_Init(ENABLE_GPIO_Port, &GPIO_InitStruct);

  /*Configure GPIO pin : SDNWE_Pin */
  GPIO_InitStruct.Pin = SDNWE_Pin;
  GPIO_InitStruct.Mode = GPIO_MODE_AF_PP;
  GPIO_InitStruct.Pull = GPIO_NOPULL;
  GPIO_InitStruct.Speed = GPIO_SPEED_FREQ_VERY_HIGH;
  GPIO_InitStruct.Alternate = GPIO_AF12_FMC;
  HAL_GPIO_Init(SDNWE_GPIO_Port, &GPIO_InitStruct);

  /*Configure GPIO pins : NCS_MEMS_SPI_Pin CSX_Pin OTG_FS_PSO_Pin */
  GPIO_InitStruct.Pin = NCS_MEMS_SPI_Pin|CSX_Pin|OTG_FS_PSO_Pin;
  GPIO_InitStruct.Mode = GPIO_MODE_OUTPUT_PP;
  GPIO_InitStruct.Pull = GPIO_NOPULL;
  GPIO_InitStruct.Speed = GPIO_SPEED_FREQ_LOW;
  HAL_GPIO_Init(GPIOC, &GPIO_InitStruct);

  /*Configure GPIO pin : button_Pin */
  GPIO_InitStruct.Pin = button_Pin;
  GPIO_InitStruct.Mode = GPIO_MODE_IT_RISING;
  GPIO_InitStruct.Pull = GPIO_NOPULL;
  HAL_GPIO_Init(button_GPIO_Port, &GPIO_InitStruct);

  /*Configure GPIO pins : MEMS_INT1_Pin MEMS_INT2_Pin TP_INT1_Pin */
  GPIO_InitStruct.Pin = MEMS_INT1_Pin|MEMS_INT2_Pin|TP_INT1_Pin;
  GPIO_InitStruct.Mode = GPIO_MODE_EVT_RISING;
  GPIO_InitStruct.Pull = GPIO_NOPULL;
  HAL_GPIO_Init(GPIOA, &GPIO_InitStruct);

  /*Configure GPIO pins : B5_Pin VSYNC_Pin G2_Pin R4_Pin
                           R5_Pin */
  GPIO_InitStruct.Pin = B5_Pin|VSYNC_Pin|G2_Pin|R4_Pin
                          |R5_Pin;
  GPIO_InitStruct.Mode = GPIO_MODE_AF_PP;
  GPIO_InitStruct.Pull = GPIO_NOPULL;
  GPIO_InitStruct.Speed = GPIO_SPEED_FREQ_LOW;
  GPIO_InitStruct.Alternate = GPIO_AF14_LTDC;
  HAL_GPIO_Init(GPIOA, &GPIO_InitStruct);

  /*Configure GPIO pin : ACP_RST_Pin */
  GPIO_InitStruct.Pin = ACP_RST_Pin;
  GPIO_InitStruct.Mode = GPIO_MODE_OUTPUT_PP;
  GPIO_InitStruct.Pull = GPIO_NOPULL;
  GPIO_InitStruct.Speed = GPIO_SPEED_FREQ_LOW;
  HAL_GPIO_Init(ACP_RST_GPIO_Port, &GPIO_InitStruct);

  /*Configure GPIO pin : OTG_FS_OC_Pin */
  GPIO_InitStruct.Pin = OTG_FS_OC_Pin;
  GPIO_InitStruct.Mode = GPIO_MODE_EVT_RISING;
  GPIO_InitStruct.Pull = GPIO_NOPULL;
  HAL_GPIO_Init(OTG_FS_OC_GPIO_Port, &GPIO_InitStruct);

  /*Configure GPIO pins : R3_Pin R6_Pin */
  GPIO_InitStruct.Pin = R3_Pin|R6_Pin;
  GPIO_InitStruct.Mode = GPIO_MODE_AF_PP;
  GPIO_InitStruct.Pull = GPIO_NOPULL;
  GPIO_InitStruct.Speed = GPIO_SPEED_FREQ_LOW;
  GPIO_InitStruct.Alternate = GPIO_AF9_LTDC;
  HAL_GPIO_Init(GPIOB, &GPIO_InitStruct);

  /*Configure GPIO pin : BOOT1_Pin */
  GPIO_InitStruct.Pin = BOOT1_Pin;
  GPIO_InitStruct.Mode = GPIO_MODE_INPUT;
  GPIO_InitStruct.Pull = GPIO_NOPULL;
  HAL_GPIO_Init(BOOT1_GPIO_Port, &GPIO_InitStruct);

  /*Configure GPIO pins : A10_Pin A11_Pin BA0_Pin BA1_Pin
                           SDCLK_Pin SDNCAS_Pin */
  GPIO_InitStruct.Pin = A10_Pin|A11_Pin|BA0_Pin|BA1_Pin
                          |SDCLK_Pin|SDNCAS_Pin;
  GPIO_InitStruct.Mode = GPIO_MODE_AF_PP;
  GPIO_InitStruct.Pull = GPIO_NOPULL;
  GPIO_InitStruct.Speed = GPIO_SPEED_FREQ_VERY_HIGH;
  GPIO_InitStruct.Alternate = GPIO_AF12_FMC;
  HAL_GPIO_Init(GPIOG, &GPIO_InitStruct);

  /*Configure GPIO pins : D4_Pin D5_Pin D6_Pin D7_Pin
                           D8_Pin D9_Pin D10_Pin D11_Pin
                           D12_Pin NBL0_Pin NBL1_Pin */
  GPIO_InitStruct.Pin = D4_Pin|D5_Pin|D6_Pin|D7_Pin
                          |D8_Pin|D9_Pin|D10_Pin|D11_Pin
                          |D12_Pin|NBL0_Pin|NBL1_Pin;
  GPIO_InitStruct.Mode = GPIO_MODE_AF_PP;
  GPIO_InitStruct.Pull = GPIO_NOPULL;
  GPIO_InitStruct.Speed = GPIO_SPEED_FREQ_VERY_HIGH;
  GPIO_InitStruct.Alternate = GPIO_AF12_FMC;
  HAL_GPIO_Init(GPIOE, &GPIO_InitStruct);

  /*Configure GPIO pins : G4_Pin G5_Pin B6_Pin B7_Pin */
  GPIO_InitStruct.Pin = G4_Pin|G5_Pin|B6_Pin|B7_Pin;
  GPIO_InitStruct.Mode = GPIO_MODE_AF_PP;
  GPIO_InitStruct.Pull = GPIO_NOPULL;
  GPIO_InitStruct.Speed = GPIO_SPEED_FREQ_LOW;
  GPIO_InitStruct.Alternate = GPIO_AF14_LTDC;
  HAL_GPIO_Init(GPIOB, &GPIO_InitStruct);

  /*Configure GPIO pins : OTG_HS_ID_Pin OTG_HS_DM_Pin OTG_HS_DP_Pin */
  GPIO_InitStruct.Pin = OTG_HS_ID_Pin|OTG_HS_DM_Pin|OTG_HS_DP_Pin;
  GPIO_InitStruct.Mode = GPIO_MODE_AF_PP;
  GPIO_InitStruct.Pull = GPIO_NOPULL;
  GPIO_InitStruct.Speed = GPIO_SPEED_FREQ_LOW;
  GPIO_InitStruct.Alternate = GPIO_AF12_OTG_HS_FS;
  HAL_GPIO_Init(GPIOB, &GPIO_InitStruct);

  /*Configure GPIO pin : VBUS_HS_Pin */
  GPIO_InitStruct.Pin = VBUS_HS_Pin;
  GPIO_InitStruct.Mode = GPIO_MODE_INPUT;
  GPIO_InitStruct.Pull = GPIO_NOPULL;
  HAL_GPIO_Init(VBUS_HS_GPIO_Port, &GPIO_InitStruct);

  /*Configure GPIO pins : D13_Pin D14_Pin D15_Pin D0_Pin
                           D1_Pin D2_Pin D3_Pin */
  GPIO_InitStruct.Pin = D13_Pin|D14_Pin|D15_Pin|D0_Pin
                          |D1_Pin|D2_Pin|D3_Pin;
  GPIO_InitStruct.Mode = GPIO_MODE_AF_PP;
  GPIO_InitStruct.Pull = GPIO_NOPULL;
  GPIO_InitStruct.Speed = GPIO_SPEED_FREQ_VERY_HIGH;
  GPIO_InitStruct.Alternate = GPIO_AF12_FMC;
  HAL_GPIO_Init(GPIOD, &GPIO_InitStruct);

  /*Configure GPIO pin : TE_Pin */
  GPIO_InitStruct.Pin = TE_Pin;
  GPIO_InitStruct.Mode = GPIO_MODE_INPUT;
  GPIO_InitStruct.Pull = GPIO_NOPULL;
  HAL_GPIO_Init(TE_GPIO_Port, &GPIO_InitStruct);

  /*Configure GPIO pins : RDX_Pin WRX_DCX_Pin */
  GPIO_InitStruct.Pin = RDX_Pin|WRX_DCX_Pin;
  GPIO_InitStruct.Mode = GPIO_MODE_OUTPUT_PP;
  GPIO_InitStruct.Pull = GPIO_NOPULL;
  GPIO_InitStruct.Speed = GPIO_SPEED_FREQ_LOW;
  HAL_GPIO_Init(GPIOD, &GPIO_InitStruct);

  /*Configure GPIO pins : R7_Pin DOTCLK_Pin B3_Pin */
  GPIO_InitStruct.Pin = R7_Pin|DOTCLK_Pin|B3_Pin;
  GPIO_InitStruct.Mode = GPIO_MODE_AF_PP;
  GPIO_InitStruct.Pull = GPIO_NOPULL;
  GPIO_InitStruct.Speed = GPIO_SPEED_FREQ_LOW;
  GPIO_InitStruct.Alternate = GPIO_AF14_LTDC;
  HAL_GPIO_Init(GPIOG, &GPIO_InitStruct);

  /*Configure GPIO pins : HSYNC_Pin G6_Pin R2_Pin */
  GPIO_InitStruct.Pin = HSYNC_Pin|G6_Pin|R2_Pin;
  GPIO_InitStruct.Mode = GPIO_MODE_AF_PP;
  GPIO_InitStruct.Pull = GPIO_NOPULL;
  GPIO_InitStruct.Speed = GPIO_SPEED_FREQ_LOW;
  GPIO_InitStruct.Alternate = GPIO_AF14_LTDC;
  HAL_GPIO_Init(GPIOC, &GPIO_InitStruct);

  /*Configure GPIO pin : I2C3_SDA_Pin */
  GPIO_InitStruct.Pin = I2C3_SDA_Pin;
  GPIO_InitStruct.Mode = GPIO_MODE_AF_OD;
  GPIO_InitStruct.Pull = GPIO_NOPULL;
  GPIO_InitStruct.Speed = GPIO_SPEED_FREQ_LOW;
  GPIO_InitStruct.Alternate = GPIO_AF4_I2C3;
  HAL_GPIO_Init(I2C3_SDA_GPIO_Port, &GPIO_InitStruct);

  /*Configure GPIO pin : I2C3_SCL_Pin */
  GPIO_InitStruct.Pin = I2C3_SCL_Pin;
  GPIO_InitStruct.Mode = GPIO_MODE_AF_OD;
  GPIO_InitStruct.Pull = GPIO_NOPULL;
  GPIO_InitStruct.Speed = GPIO_SPEED_FREQ_LOW;
  GPIO_InitStruct.Alternate = GPIO_AF4_I2C3;
  HAL_GPIO_Init(I2C3_SCL_GPIO_Port, &GPIO_InitStruct);

  /*Configure GPIO pins : G7_Pin B2_Pin */
  GPIO_InitStruct.Pin = G7_Pin|B2_Pin;
  GPIO_InitStruct.Mode = GPIO_MODE_AF_PP;
  GPIO_InitStruct.Pull = GPIO_NOPULL;
  GPIO_InitStruct.Speed = GPIO_SPEED_FREQ_LOW;
  GPIO_InitStruct.Alternate = GPIO_AF14_LTDC;
  HAL_GPIO_Init(GPIOD, &GPIO_InitStruct);

  /*Configure GPIO pins : G3_Pin B4_Pin */
  GPIO_InitStruct.Pin = G3_Pin|B4_Pin;
  GPIO_InitStruct.Mode = GPIO_MODE_AF_PP;
  GPIO_InitStruct.Pull = GPIO_NOPULL;
  GPIO_InitStruct.Speed = GPIO_SPEED_FREQ_LOW;
  GPIO_InitStruct.Alternate = GPIO_AF9_LTDC;
  HAL_GPIO_Init(GPIOG, &GPIO_InitStruct);

  /*Configure GPIO pins : LD3_Pin LD4_Pin */
  GPIO_InitStruct.Pin = LD3_Pin|LD4_Pin;
  GPIO_InitStruct.Mode = GPIO_MODE_OUTPUT_PP;
  GPIO_InitStruct.Pull = GPIO_NOPULL;
  GPIO_InitStruct.Speed = GPIO_SPEED_FREQ_LOW;
  HAL_GPIO_Init(GPIOG, &GPIO_InitStruct);

  /*Configure GPIO pins : SDCKE1_Pin SDNE1_Pin */
  GPIO_InitStruct.Pin = SDCKE1_Pin|SDNE1_Pin;
  GPIO_InitStruct.Mode = GPIO_MODE_AF_PP;
  GPIO_InitStruct.Pull = GPIO_NOPULL;
  GPIO_InitStruct.Speed = GPIO_SPEED_FREQ_VERY_HIGH;
  GPIO_InitStruct.Alternate = GPIO_AF12_FMC;
  HAL_GPIO_Init(GPIOB, &GPIO_InitStruct);

  /* EXTI interrupt init*/
  HAL_NVIC_SetPriority(EXTI0_IRQn, 0, 0);
  HAL_NVIC_EnableIRQ(EXTI0_IRQn);

}

/* USER CODE BEGIN 4 */

// Button interrupt callback (EXTI)
void HAL_GPIO_EXTI_Callback(uint16_t GPIO_Pin)
{
  if (GPIO_Pin != button_Pin) return;

  // Debounce: ignore edges within 50 ms
  uint32_t now = HAL_GetTick();
  if ((now - lastPressTickMs) < 50) return;
  lastPressTickMs = now;

  pressedAmount++;

  // If UART is busy, remember to send later
  if (uartBusy)
  {
    uartPending = 1;
    return;
  }

  int n = snprintf(message, sizeof(message),
                   "button pressed %lu times\r\n",
                   (unsigned long)pressedAmount);

  uartBusy = 1;
  HAL_UART_Transmit_IT(&huart1, (uint8_t*)message, (uint16_t)n);
}

// UART TX complete callback (interrupt-driven)
void HAL_UART_TxCpltCallback(UART_HandleTypeDef *huart)
{
  if (huart->Instance != USART1) return;

  uartBusy = 0;

  // If a press happened while busy, send one updated message
  if (uartPending)
  {
    uartPending = 0;

    int n = snprintf(message, sizeof(message),
                     "button pressed %lu times\r\n",
                     (unsigned long)pressedAmount);

    uartBusy = 1;
    HAL_UART_Transmit_IT(&huart1, (uint8_t*)message, (uint16_t)n);
  }
}

/* USER CODE END 4 */

void Error_Handler(void)
{
  __disable_irq();
  while (1)
  {
  }
}
